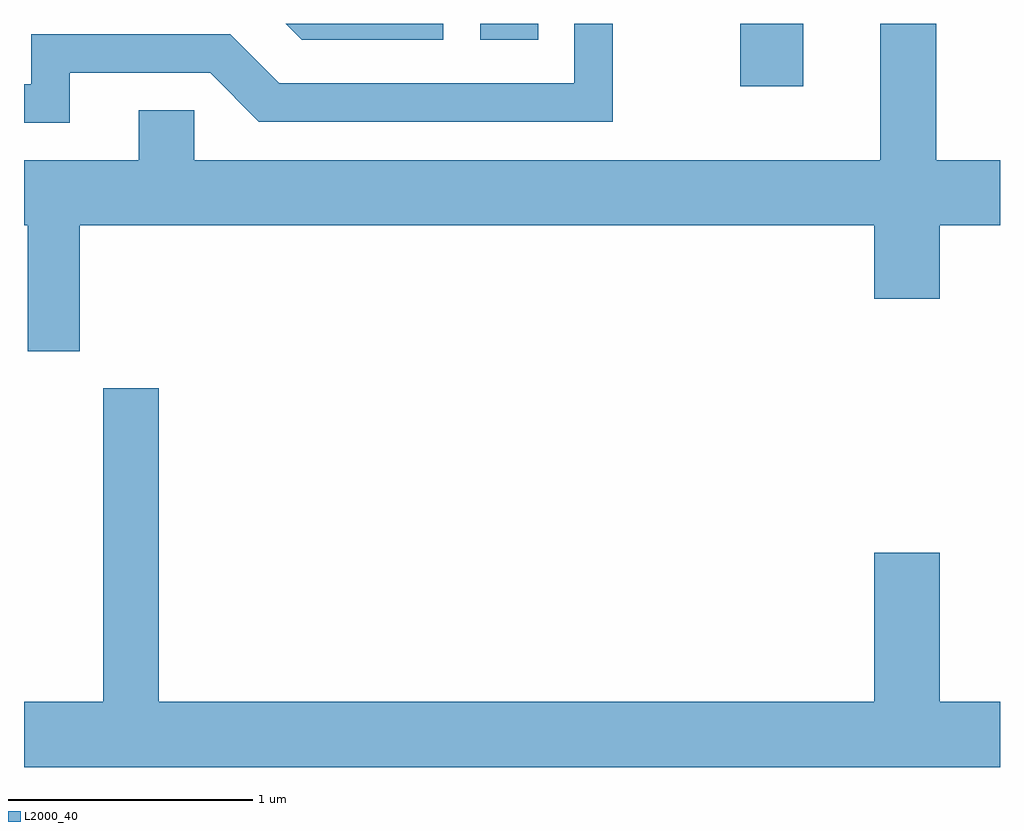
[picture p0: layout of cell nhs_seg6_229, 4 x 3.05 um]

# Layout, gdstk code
import gdstk
lib = gdstk.Library(unit=1e-6, precision=1e-09)
def R(c, l, rs):  # rectangles x0, y0, x1, y1
    for r in rs: c.add(gdstk.rectangle(r[:2], r[2:], *l))
def P(c, l, *ps):  # polygons
    for p in ps: c.add(gdstk.Polygon(p, *l))
L2000_40 = (2000, 40)

nhs_seg6_229 = lib.new_cell('nhs_seg6_229')
R(nhs_seg6_229, L2000_40, [(194.546,1583.906,194.804,1584.162), (193.481,1584.096,193.718,1584.162)])
P(nhs_seg6_229, L2000_40, [(191.839,1583.336),(195.096,1583.336),(195.096,1583.036),(195.364,1583.036),(195.364,1583.336),(195.611,1583.336),(195.611,1583.604),(195.349,1583.604),(195.349,1584.162),(195.121,1584.162),(195.121,1583.604),(192.309,1583.604),(192.309,1583.809),(192.081,1583.809),(192.081,1583.604),(191.611,1583.604),(191.611,1583.336),(191.626,1583.336),(191.626,1582.821),(191.839,1582.821)],
  [(193.329,1584.162),(192.683,1584.162),(192.749,1584.096),(193.329,1584.096)],
  [(191.799,1583.961),(192.374,1583.961),(192.574,1583.761),(194.024,1583.761),(194.024,1584.162),(193.866,1584.162),(193.866,1583.919),(192.657,1583.919),(192.457,1584.119),(191.641,1584.119),(191.641,1583.914),(191.611,1583.914),(191.611,1583.756),(191.799,1583.756)],
  [(195.611,1581.384),(195.364,1581.384),(195.364,1581.994),(195.096,1581.994),(195.096,1581.384),(192.164,1581.384),(192.164,1582.669),(191.936,1582.669),(191.936,1581.384),(191.611,1581.384),(191.611,1581.116),(195.611,1581.116)])

lib.write_gds('nhs_seg6_229.gds')
